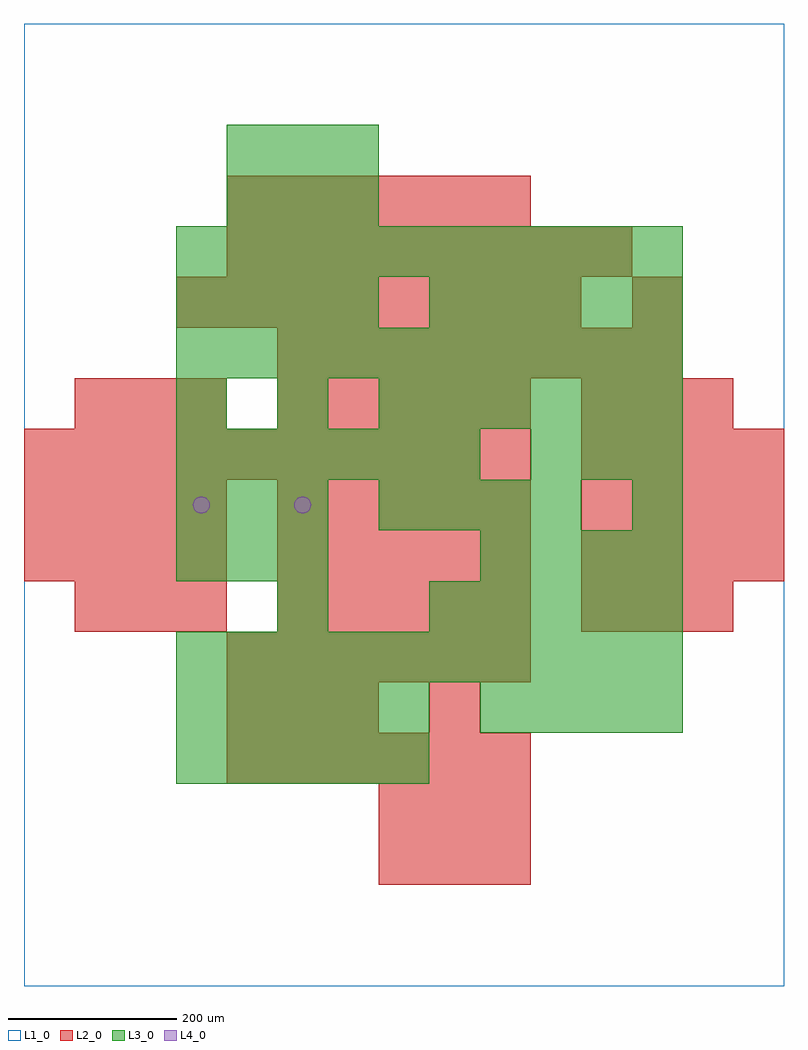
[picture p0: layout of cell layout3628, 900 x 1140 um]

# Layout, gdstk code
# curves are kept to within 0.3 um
import gdstk
lib = gdstk.Library(unit=1e-6, precision=1e-09)
def R(c, l, rs):  # rectangles x0, y0, x1, y1
    for r in rs: c.add(gdstk.rectangle(r[:2], r[2:], *l))
def A(c, l, x, y, w, h, nx, ny, dx, dy):  # array of equal rectangles
    R(c, l, [(x+i*dx, y+j*dy, x+i*dx+w, y+j*dy+h) for i in range(nx) for j in range(ny)])
def P(c, l, *ps):  # polygons
    for p in ps: c.add(gdstk.Polygon(p, *l))
L1_0 = (1, 0)
L2_0 = (2, 0)
L3_0 = (3, 0)
L4_0 = (4, 0)

layout3628 = lib.new_cell('layout3628')
R(layout3628, L1_0, [(0,0,900,1140)])
A(layout3628, L2_0, 420, 120, 60, 60, 3, 2, 60, 60)
A(layout3628, L2_0, 240, 240, 60, 60, 6, 2, 60, 120)
A(layout3628, L2_0, 240, 300, 60, 60, 3, 1, 60, 0)
A(layout3628, L2_0, 60, 420, 60, 60, 3, 2, 60, 240)
A(layout3628, L2_0, 300, 420, 60, 60, 5, 3, 60, 60)
A(layout3628, L2_0, 660, 420, 60, 60, 3, 2, 60, 240)
A(layout3628, L2_0, 0, 480, 60, 60, 4, 2, 60, 60)
A(layout3628, L2_0, 660, 480, 60, 60, 4, 3, 60, 60)
A(layout3628, L2_0, 0, 600, 60, 60, 10, 1, 60, 0)
A(layout3628, L2_0, 300, 660, 60, 60, 5, 1, 60, 0)
A(layout3628, L2_0, 300, 720, 60, 60, 8, 1, 60, 0)
A(layout3628, L2_0, 180, 780, 60, 60, 8, 1, 60, 0)
A(layout3628, L2_0, 240, 840, 60, 60, 8, 1, 60, 0)
A(layout3628, L2_0, 240, 900, 60, 60, 6, 1, 60, 0)
R(layout3628, L2_0, [(480,300,540,360), (720,780,780,840)])
A(layout3628, L3_0, 180, 240, 60, 60, 5, 2, 60, 60)
A(layout3628, L3_0, 540, 300, 60, 60, 4, 2, 60, 180)
A(layout3628, L3_0, 180, 360, 60, 60, 10, 2, 60, 360)
A(layout3628, L3_0, 480, 420, 60, 60, 5, 2, 60, 240)
A(layout3628, L3_0, 180, 480, 60, 60, 3, 2, 60, 60)
A(layout3628, L3_0, 420, 540, 60, 60, 4, 1, 60, 0)
A(layout3628, L3_0, 180, 600, 60, 60, 6, 1, 60, 0)
A(layout3628, L3_0, 600, 600, 60, 60, 3, 1, 60, 0)
A(layout3628, L3_0, 180, 660, 60, 60, 3, 1, 120, 0)
A(layout3628, L3_0, 180, 780, 60, 60, 4, 1, 60, 0)
A(layout3628, L3_0, 480, 780, 60, 60, 5, 1, 60, 0)
A(layout3628, L3_0, 180, 840, 60, 60, 10, 1, 60, 0)
A(layout3628, L3_0, 240, 900, 60, 60, 3, 2, 60, 60)
R(layout3628, L3_0, [(300,420,360,480), (720,540,780,600)])
P(layout3628, L4_0, [(220,570),(219.239,573.827),(217.071,577.071),(213.827,579.239),(210,580),(206.173,579.239),(202.929,577.071),(200.761,573.827),(200,570),(200.761,566.173),(202.929,562.929),(206.173,560.761),(210,560),(213.827,560.761),(217.071,562.929),(219.239,566.173)],
  [(340,570),(339.239,573.827),(337.071,577.071),(333.827,579.239),(330,580),(326.173,579.239),(322.929,577.071),(320.761,573.827),(320,570),(320.761,566.173),(322.929,562.929),(326.173,560.761),(330,560),(333.827,560.761),(337.071,562.929),(339.239,566.173)])

lib.write_gds('layout3628.gds')
